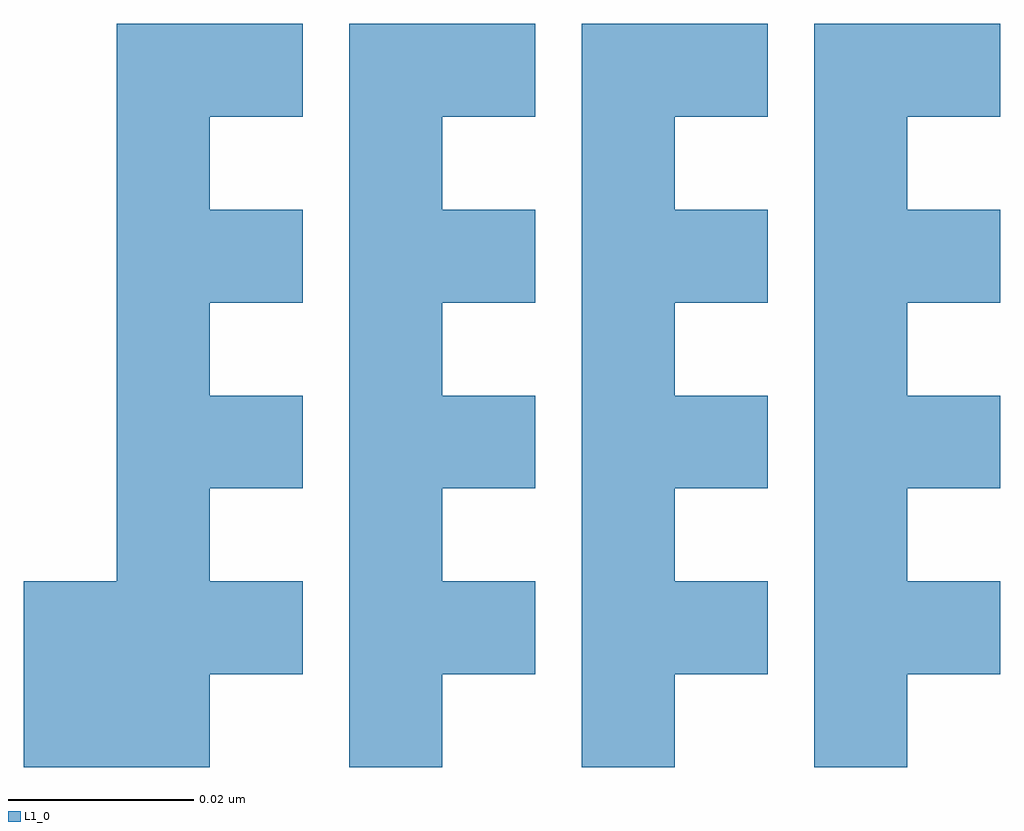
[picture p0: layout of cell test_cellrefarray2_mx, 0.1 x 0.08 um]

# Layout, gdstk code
import gdstk
lib = gdstk.Library(unit=1e-6, precision=1e-09)
def P(c, l, *ps):  # polygons
    for p in ps: c.add(gdstk.Polygon(p, *l))
L1_0 = (1, 0)

test = lib.new_cell('test')
P(test, L1_0, [(0,0),(0,0.02),(0.01,0.02),(0.01,0.01),(0.02,0.01),(0.02,0)])

test_cellrefarray2_mx = lib.new_cell('test_cellrefarray2_mx')
test_cellrefarray2_mx.add(gdstk.Reference(test, (0,0)))
r = gdstk.Reference(test, (0.01,0.02), x_reflection=True); r.repetition = gdstk.Repetition(4, 4, v1=(0.025,0), v2=(0,0.02)); test_cellrefarray2_mx.add(r)

lib.write_gds('test_cellrefarray2_mx.gds')
